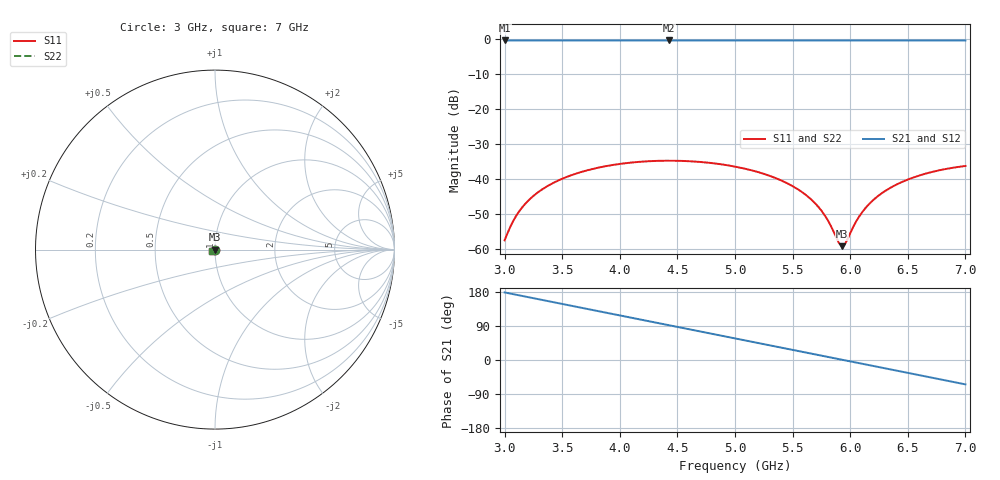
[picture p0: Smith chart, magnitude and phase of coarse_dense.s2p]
! yapnr rf: line-osh-m-w0p40-l30-m-eq-em528, footprint re-simulated (optimization grid)
! spec sha256 e1df80788586768a1376a87975672cfbac6fb459197fea5440b6dbc662095988
! 2 ports renormalized to 50 ohm, e^(+jwt) convention
# GHz S RI R 50
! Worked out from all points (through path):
!   161 points, 3 GHz to 7 GHz, reference 50 ohm
!   highest |S21| = -0.30 dB at 3 GHz (marker M1); lowest = -0.3 dB at 4.425 GHz (marker M2)
!   group delay of S21, straight-line fit = 168 ps
!   lowest |S11| = -59.1 dB at 5.925 GHz (marker M3), VSWR 1.00, Z = 49.9 + j0.00832 ohm
!   |S11| at or under -10 dB: start of sweep to end of sweep
!   |S22| runs from -59.1 to -34.6 dB; largest |S21 - S12| = 0
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3  -0.00106 -0.000834  -0.9659 0.029  -0.9659 0.029  -0.00106 -0.000834
3.1  -0.00134 -0.00269  -0.9574 0.1308  -0.9574 0.1308  -0.00134 -0.00269
3.225  -0.00223 -0.00486  -0.9318 0.2558  -0.9318 0.2558  -0.00223 -0.00486
3.425  -0.00473 -0.00761  -0.8573 0.4457  -0.8573 0.4457  -0.00473 -0.00761
3.675  -0.00905 -0.00921  -0.711 0.6542  -0.711 0.6542  -0.00905 -0.00921
4.025  -0.0152 -0.0074  -0.4262 0.8671  -0.4262 0.8671  -0.0152 -0.0074
4.35  -0.0183 -0.00239  -0.109 0.96  -0.109 0.96  -0.0183 -0.00239
4.425  -0.0185 -0.00102  -0.0326 0.9656  -0.0326 0.9656  -0.0185 -0.00102
4.7  -0.0173 0.00388  0.2458 0.9344  0.2458 0.9344  -0.0173 0.00388
5  -0.0133 0.00753  0.5252 0.811  0.5252 0.811  -0.0133 0.00753
5.4  -0.00614 0.0075  0.812 0.5237  0.812 0.5237  -0.00614 0.0075
5.55  -0.00387 0.00601  0.8847 0.3887  0.8847 0.3887  -0.00387 0.00601
5.675  -0.00242 0.00429  0.9282 0.2685  0.9282 0.2685  -0.00242 0.00429
5.8  -0.00148 0.00227  0.9556 0.1437  0.9556 0.1437  -0.00148 0.00227
5.925  -0.00111 8.34e-05  0.9662 0.0163  0.9662 0.0163  -0.00111 8.34e-05
5.95  -0.00111 -0.000359  0.9662 -0.00931  0.9662 -0.00931  -0.00111 -0.000359
6.05  -0.00132 -0.0021  0.9598 -0.1114  0.9598 -0.1114  -0.00132 -0.0021
6.125  -0.00172 -0.00335  0.948 -0.1872  0.948 -0.1872  -0.00172 -0.00335
6.225  -0.00255 -0.00488  0.9229 -0.2864  0.9229 -0.2864  -0.00255 -0.00488
6.35  -0.00401 -0.00647  0.877 -0.4057  0.877 -0.4057  -0.00401 -0.00647
6.625  -0.00828 -0.00828  0.7235 -0.6405  0.7235 -0.6405  -0.00828 -0.00828
7  -0.0142 -0.00644  0.4193 -0.8705  0.4193 -0.8705  -0.0142 -0.00644
